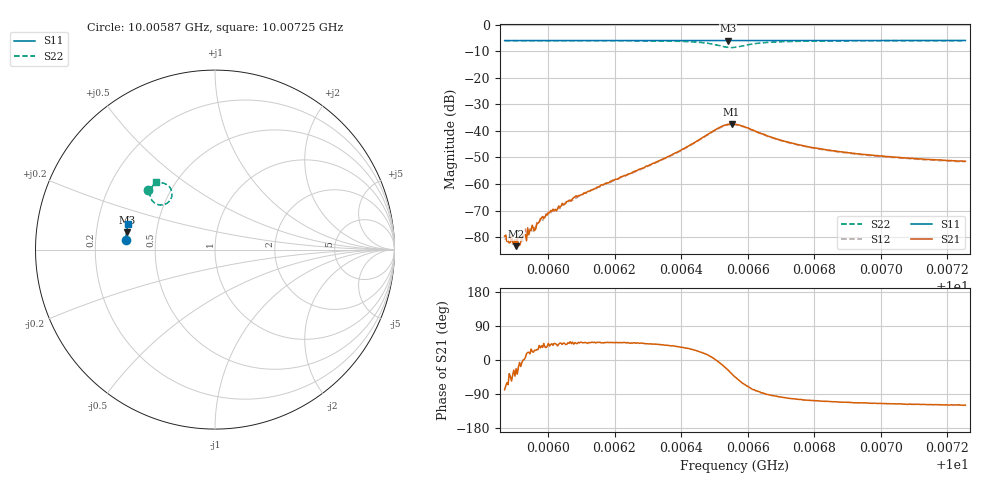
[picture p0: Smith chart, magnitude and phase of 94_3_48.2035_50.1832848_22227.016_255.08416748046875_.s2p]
#  HZ  S  RI  R  50.00
! Rohde & Schwarz Vector Network Analyzer
! Rohde-Schwarz,ZNB20-2Port,1311601062101988,3.16
! Created: UTC 3/20/2024, 11:40:13 AM
! freq[Hz]  re:S11  im:S11  re:S21  im:S21  re:S12  im:S12  re:S22  im:S22
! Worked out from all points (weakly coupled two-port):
!   401 points, 10.00587 GHz to 10.00725 GHz, reference 50 ohm
!   highest |S21| = -37.37 dB at 10.00655 GHz (marker M1); lowest = -83.4 dB at 10.0059 GHz (marker M2)
!   lowest |S11| = -6.0 dB at 10.00654 GHz (marker M3), VSWR 3.01, Z = 16.8 + j4.33 ohm
!   |S11| at or under -10 dB: nowhere
!   |S22| runs from -8.6 to -6.0 dB; largest |S21 - S12| = 0.00087
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1.000587e10  -0.4984 0.0541  2.07e-05 -0.000102  2.21e-05 -8.79e-05  -0.3732 0.3298
1.0005904e10  -0.4981 0.0563  6.22e-05 -2.63e-05  7.86e-05 -3.09e-05  -0.3715 0.3319
1.0005929e10  -0.498 0.058  0.000109 2.55e-06  0.000106 2.36e-05  -0.3701 0.3336
1.0005942e10  -0.498 0.0589  0.000104 3.82e-05  0.000111 7.84e-05  -0.3693 0.3346
1.0005946e10  -0.4979 0.0591  0.00013 3.82e-05  0.00013 6.11e-05  -0.3691 0.3347
1.0005956e10  -0.4979 0.0597  0.000136 5.13e-05  0.000112 6.58e-05  -0.3685 0.3353
1.0005967e10  -0.4978 0.0604  0.000158 8.25e-05  0.000166 0.000101  -0.3678 0.3361
1.0005974e10  -0.4978 0.0609  0.000152 0.000121  0.000156 0.000105  -0.3674 0.3365
1.0006008e10  -0.4976 0.0632  0.00024 0.000205  0.000218 0.000185  -0.3651 0.3389
1.000605e10  -0.4974 0.0659  0.000298 0.000289  0.000284 0.000315  -0.3625 0.3417
1.0006102e10  -0.497 0.0693  0.000434 0.000458  0.000411 0.000473  -0.3588 0.3455
1.0006334e10  -0.4949 0.0843  0.00207 0.00178  0.00192 0.00184  -0.3305 0.3656
1.0006468e10  -0.4932 0.0931  0.00736 0.00235  0.00708 0.0026  -0.2733 0.365
1.0006513e10  -0.4922 0.0957  0.0114 -0.00113  0.0111 -0.000513  -0.2415 0.3254
1.0006541e10  -0.4917 0.0968  0.0119 -0.00594  0.0118 -0.00532  -0.2475 0.2795
1.0006552e10  -0.4918 0.0975  0.011 -0.00786  0.011 -0.00709  -0.2595 0.2645
1.0006562e10  -0.4917 0.0978  0.00949 -0.00936  0.00975 -0.00855  -0.2751 0.2539
1.0006638e10  -0.4917 0.1026  0.000803 -0.009  0.00118 -0.0089  -0.3544 0.2801
1.0006718e10  -0.4912 0.1079  -0.00111 -0.00615  -0.000816 -0.00601  -0.3622 0.3156
1.0006794e10  -0.4903 0.1128  -0.00139 -0.00464  -0.00116 -0.00465  -0.3583 0.3337
1.0007026e10  -0.4872 0.1276  -0.00141 -0.00297  -0.00124 -0.00293  -0.3434 0.3603
1.0007254e10  -0.4837 0.142  -0.00131 -0.00234  -0.00117 -0.00234  -0.3303 0.3758
